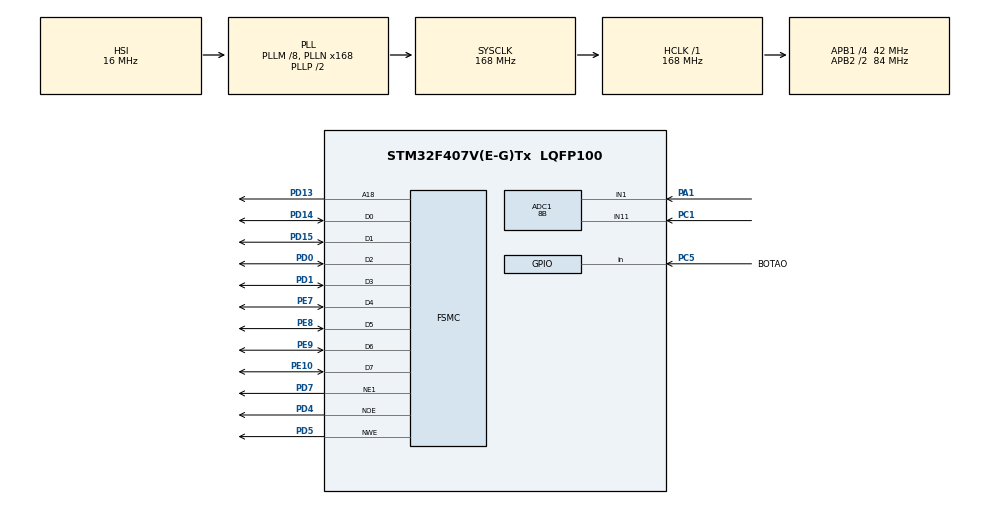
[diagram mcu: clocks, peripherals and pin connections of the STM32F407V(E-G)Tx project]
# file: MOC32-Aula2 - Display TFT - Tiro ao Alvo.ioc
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ADC1.Channel-2\#ChannelRegularConversion=ADC_CHANNEL_1
ADC1.Channel-4\#ChannelRegularConversion=ADC_CHANNEL_11
ADC1.ClockPrescaler=ADC_CLOCK_SYNC_PCLK_DIV4
ADC1.NbrOfConversion=2
ADC1.NbrOfConversionFlag=1
ADC1.Rank-2\#ChannelRegularConversion=1
ADC1.Rank-4\#ChannelRegularConversion=2
ADC1.Resolution=ADC_RESOLUTION_8B
ADC1.SamplingTime-2\#ChannelRegularConversion=ADC_SAMPLETIME_480CYCLES
ADC1.SamplingTime-4\#ChannelRegularConversion=ADC_SAMPLETIME_480CYCLES
ADC1.master=1
FSMC.AddressSetupTime1=6
FSMC.BusTurnAroundDuration1=15
FSMC.DataSetupTime1=6
Mcu.Family=STM32F4
Mcu.Name=STM32F407V(E-G)Tx
Mcu.Package=LQFP100
NVIC.PriorityGroup=NVIC_PRIORITYGROUP_4
PA1.Signal=ADCx_IN1
PC1.Signal=ADCx_IN11
PC5.GPIO_Label=BOTAO
PC5.GPIO_PuPd=GPIO_PULLUP
PC5.Signal=GPIO_Input
PD0.Mode=8b-d1
PD0.Signal=FSMC_D2
PD1.Mode=8b-d1
PD1.Signal=FSMC_D3
PD13.Mode=A18_1
PD13.Signal=FSMC_A18
PD14.Mode=8b-d1
PD14.Signal=FSMC_D0
PD15.Mode=8b-d1
PD15.Signal=FSMC_D1
PD4.Mode=Lcd1
PD4.Signal=FSMC_NOE
PD5.Mode=Lcd1
PD5.Signal=FSMC_NWE
PD7.Mode=NorPsramChipSelect1_1
PD7.Signal=FSMC_NE1
PE10.Mode=8b-d1
PE10.Signal=FSMC_D7
PE7.Mode=8b-d1
PE7.Signal=FSMC_D4
PE8.Mode=8b-d1
PE8.Signal=FSMC_D5
PE9.Mode=8b-d1
PE9.Signal=FSMC_D6
PH0-OSC_IN.Mode=HSE-External-Oscillator
PH0-OSC_IN.Signal=RCC_OSC_IN
PH1-OSC_OUT.Mode=HSE-External-Oscillator
PH1-OSC_OUT.Signal=RCC_OSC_OUT
ProjectManager.HeapSize=0x200
ProjectManager.StackSize=0x400
ProjectManager.TargetToolchain=STM32CubeIDE
RCC.48MHZClocksFreq_Value=84000000
RCC.AHBFreq_Value=168000000
RCC.APB1CLKDivider=RCC_HCLK_DIV4
RCC.APB1Freq_Value=42000000
RCC.APB1TimFreq_Value=84000000
RCC.APB2CLKDivider=RCC_HCLK_DIV2
RCC.APB2Freq_Value=84000000
RCC.APB2TimFreq_Value=168000000
RCC.CortexFreq_Value=168000000
RCC.HCLKFreq_Value=168000000
RCC.HSE_VALUE=8000000
RCC.HSI_VALUE=16000000
RCC.LSE_VALUE=32768
RCC.PLLM=8
RCC.PLLN=168
RCC.SYSCLKFreq_VALUE=168000000
RCC.SYSCLKSource=RCC_SYSCLKSOURCE_PLLCLK
RCC.VCOOutputFreq_Value=336000000
SH.ADCx_IN1.0=ADC1_IN1,IN1
SH.ADCx_IN11.0=ADC1_IN11,IN11
board=custom

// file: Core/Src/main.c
/* USER CODE BEGIN Header */
/**
  ******************************************************************************
  * @file           : main.c
  * @brief          : Main program body
  ******************************************************************************
  * @attention
  *
  * Copyright (c) 2023 STMicroelectronics.
  * All rights reserved.
  *
  * This software is licensed under terms that can be found in the LICENSE file
  * in the root directory of this software component.
  * If no LICENSE file comes with this software, it is provided AS-IS.
  *
  ******************************************************************************
  */
/* USER CODE END Header */
#include "main.h"

/* USER CODE BEGIN Includes */
#include "ili9341.h"
#include "common.h"
#include "fonts.h"
#include "lcd.h"
#include "math.h"
#include <stdbool.h>

/* USER CODE END Includes */

ADC_HandleTypeDef hadc1;

SRAM_HandleTypeDef hsram1;

/* USER CODE BEGIN PV */
extern const unsigned short alvo_resize[76800];
uint16_t adc_valueX=0;
uint16_t adc_valueY=0;
uint16_t score=0;
uint8_t score_text[10];
/* USER CODE END PV */

void SystemClock_Config(void);
static void MX_GPIO_Init(void);
static void MX_ADC1_Init(void);
static void MX_FSMC_Init(void);
/* USER CODE BEGIN PFP */
void init_alvo(uint16_t x,uint16_t y);
uint16_t map(uint16_t x, uint16_t in_min, uint16_t in_max, uint16_t out_min, uint16_t out_max);
uint32_t Read_ADC_Channel(uint32_t channel);
void score_update(void);
void verifica_alvo(uint16_t x,uint16_t y);
/* USER CODE END PFP */

int main(void)
{

  /* MCU Configuration--------------------------------------------------------*/

  /* Reset of all peripherals, Initializes the Flash interface and the Systick. */
  HAL_Init();

  /* Configure the system clock */
  SystemClock_Config();

  /* Initialize all configured peripherals */
  MX_GPIO_Init();
  MX_ADC1_Init();
  MX_FSMC_Init();
  /* USER CODE BEGIN 2 */
  ili9341_Init();
  ili9341_DrawRGBImage(0, 0, 320, 240, alvo_resize);
  init_alvo(160,120);
  /* USER CODE END 2 */

  /* Infinite loop */
  while (1)
  {

    /* USER CODE BEGIN 3 */
	  adc_valueX = (uint16_t)Read_ADC_Channel(ADC_CHANNEL_1);
	  adc_valueY = (uint16_t)Read_ADC_Channel(ADC_CHANNEL_11);
	  adc_valueX=map(adc_valueX,6,255,0,320);
	  adc_valueY=map(adc_valueY,6,255,0,240);
	  ili9341_DrawRGBImage(0, 0, 320, 240, alvo_resize);
	  score_update();
	  init_alvo(adc_valueX, adc_valueY);
	  verifica_alvo(adc_valueX,adc_valueY);
	  HAL_Delay(150);
  }
  /* USER CODE END 3 */
}

void SystemClock_Config(void)
{
  RCC_OscInitTypeDef RCC_OscInitStruct = {0};
  RCC_ClkInitTypeDef RCC_ClkInitStruct = {0};

  /** Configure the main internal regulator output voltage
  */
  __HAL_RCC_PWR_CLK_ENABLE();
  __HAL_PWR_VOLTAGESCALING_CONFIG(PWR_REGULATOR_VOLTAGE_SCALE1);

  /** Initializes the RCC Oscillators according to the specified parameters
  * in the RCC_OscInitTypeDef structure.
  */
  RCC_OscInitStruct.OscillatorType = RCC_OSCILLATORTYPE_HSI;
  RCC_OscInitStruct.HSIState = RCC_HSI_ON;
  RCC_OscInitStruct.HSICalibrationValue = RCC_HSICALIBRATION_DEFAULT;
  RCC_OscInitStruct.PLL.PLLState = RCC_PLL_ON;
  RCC_OscInitStruct.PLL.PLLSource = RCC_PLLSOURCE_HSI;
  RCC_OscInitStruct.PLL.PLLM = 8;
  RCC_OscInitStruct.PLL.PLLN = 168;
  RCC_OscInitStruct.PLL.PLLP = RCC_PLLP_DIV2;
  RCC_OscInitStruct.PLL.PLLQ = 4;
  if (HAL_RCC_OscConfig(&RCC_OscInitStruct) != HAL_OK)
  {
    Error_Handler();
  }

  /** Initializes the CPU, AHB and APB buses clocks
  */
  RCC_ClkInitStruct.ClockType = RCC_CLOCKTYPE_HCLK|RCC_CLOCKTYPE_SYSCLK
                              |RCC_CLOCKTYPE_PCLK1|RCC_CLOCKTYPE_PCLK2;
  RCC_ClkInitStruct.SYSCLKSource = RCC_SYSCLKSOURCE_PLLCLK;
  RCC_ClkInitStruct.AHBCLKDivider = RCC_SYSCLK_DIV1;
  RCC_ClkInitStruct.APB1CLKDivider = RCC_HCLK_DIV4;
  RCC_ClkInitStruct.APB2CLKDivider = RCC_HCLK_DIV2;

  if (HAL_RCC_ClockConfig(&RCC_ClkInitStruct, FLASH_LATENCY_5) != HAL_OK)
  {
    Error_Handler();
  }
}

static void MX_ADC1_Init(void)
{

  ADC_ChannelConfTypeDef sConfig = {0};

  /** Configure the global features of the ADC (Clock, Resolution, Data Alignment and number of conversion)
  */
  hadc1.Instance = ADC1;
  hadc1.Init.ClockPrescaler = ADC_CLOCK_SYNC_PCLK_DIV4;
  hadc1.Init.Resolution = ADC_RESOLUTION_8B;
  hadc1.Init.ScanConvMode = ENABLE;
  hadc1.Init.ContinuousConvMode = DISABLE;
  hadc1.Init.DiscontinuousConvMode = DISABLE;
  hadc1.Init.ExternalTrigConvEdge = ADC_EXTERNALTRIGCONVEDGE_NONE;
  hadc1.Init.ExternalTrigConv = ADC_SOFTWARE_START;
  hadc1.Init.DataAlign = ADC_DATAALIGN_RIGHT;
  hadc1.Init.NbrOfConversion = 2;
  hadc1.Init.DMAContinuousRequests = DISABLE;
  hadc1.Init.EOCSelection = ADC_EOC_SINGLE_CONV;
  if (HAL_ADC_Init(&hadc1) != HAL_OK)
  {
    Error_Handler();
  }

  /** Configure for the selected ADC regular channel its corresponding rank in the sequencer and its sample time.
  */
  sConfig.Channel = ADC_CHANNEL_1;
  sConfig.Rank = 1;
  sConfig.SamplingTime = ADC_SAMPLETIME_480CYCLES;
  if (HAL_ADC_ConfigChannel(&hadc1, &sConfig) != HAL_OK)
  {
    Error_Handler();
  }

  /** Configure for the selected ADC regular channel its corresponding rank in the sequencer and its sample time.
  */
  sConfig.Channel = ADC_CHANNEL_11;
  sConfig.Rank = 2;
  if (HAL_ADC_ConfigChannel(&hadc1, &sConfig) != HAL_OK)
  {
    Error_Handler();
  }

}

static void MX_GPIO_Init(void)
{
  GPIO_InitTypeDef GPIO_InitStruct = {0};

  /* GPIO Ports Clock Enable */
  __HAL_RCC_GPIOH_CLK_ENABLE();
  __HAL_RCC_GPIOC_CLK_ENABLE();
  __HAL_RCC_GPIOA_CLK_ENABLE();
  __HAL_RCC_GPIOE_CLK_ENABLE();
  __HAL_RCC_GPIOD_CLK_ENABLE();

  /*Configure GPIO pin : BOTAO_Pin */
  GPIO_InitStruct.Pin = BOTAO_Pin;
  GPIO_InitStruct.Mode = GPIO_MODE_INPUT;
  GPIO_InitStruct.Pull = GPIO_PULLUP;
  HAL_GPIO_Init(BOTAO_GPIO_Port, &GPIO_InitStruct);

}

/* FSMC initialization function */
static void MX_FSMC_Init(void)
{

  FSMC_NORSRAM_TimingTypeDef Timing = {0};

  /** Perform the SRAM1 memory initialization sequence
  */
  hsram1.Instance = FSMC_NORSRAM_DEVICE;
  hsram1.Extended = FSMC_NORSRAM_EXTENDED_DEVICE;
  /* hsram1.Init */
  hsram1.Init.NSBank = FSMC_NORSRAM_BANK1;
  hsram1.Init.DataAddressMux = FSMC_DATA_ADDRESS_MUX_DISABLE;
  hsram1.Init.MemoryType = FSMC_MEMORY_TYPE_SRAM;
  hsram1.Init.MemoryDataWidth = FSMC_NORSRAM_MEM_BUS_WIDTH_8;
  hsram1.Init.BurstAccessMode = FSMC_BURST_ACCESS_MODE_DISABLE;
  hsram1.Init.WaitSignalPolarity = FSMC_WAIT_SIGNAL_POLARITY_LOW;
  hsram1.Init.WrapMode = FSMC_WRAP_MODE_DISABLE;
  hsram1.Init.WaitSignalActive = FSMC_WAIT_TIMING_BEFORE_WS;
  hsram1.Init.WriteOperation = FSMC_WRITE_OPERATION_ENABLE;
  hsram1.Init.WaitSignal = FSMC_WAIT_SIGNAL_DISABLE;
  hsram1.Init.ExtendedMode = FSMC_EXTENDED_MODE_DISABLE;
  hsram1.Init.AsynchronousWait = FSMC_ASYNCHRONOUS_WAIT_DISABLE;
  hsram1.Init.WriteBurst = FSMC_WRITE_BURST_DISABLE;
  hsram1.Init.PageSize = FSMC_PAGE_SIZE_NONE;
  /* Timing */
  Timing.AddressSetupTime = 6;
  Timing.AddressHoldTime = 15;
  Timing.DataSetupTime = 6;
  Timing.BusTurnAroundDuration = 15;
  Timing.CLKDivision = 16;
  Timing.DataLatency = 17;
  Timing.AccessMode = FSMC_ACCESS_MODE_A;
  /* ExtTiming */

  if (HAL_SRAM_Init(&hsram1, &Timing, NULL) != HAL_OK)
  {
    Error_Handler( );
  }

}

/* USER CODE BEGIN 4 */
void init_alvo(uint16_t x,uint16_t y)
{

	ili9341_FillCircle(x, y, 5, COLOR_BLACK);
	ili9341_DrawVLine(COLOR_BLACK, x-1, y-20, 40);
	ili9341_DrawVLine(COLOR_BLACK, x, y-20, 40);
	ili9341_DrawVLine(COLOR_BLACK, x+1, y-20, 40);
	ili9341_DrawHLine(COLOR_BLACK, x-20, y-1, 40);
	ili9341_DrawHLine(COLOR_BLACK, x-20, y, 40);
	ili9341_DrawHLine(COLOR_BLACK, x-20, y+1, 40);
}

uint16_t map(uint16_t x, uint16_t in_min, uint16_t in_max, uint16_t out_min, uint16_t out_max)
{
  return (x - in_min) * (out_max - out_min) / (in_max - in_min) + out_min;
}

uint32_t Read_ADC_Channel(uint32_t channel)
{
  ADC_ChannelConfTypeDef sConfig;

  sConfig.Channel = channel;
  sConfig.Rank = 1;
  sConfig.SamplingTime = ADC_SAMPLETIME_480CYCLES;
  sConfig.Offset = 0;
  HAL_ADC_ConfigChannel(&hadc1, &sConfig);

  HAL_ADC_Start(&hadc1);
  HAL_ADC_PollForConversion(&hadc1, 50);
  uint32_t adc_value = HAL_ADC_GetValue(&hadc1);
  HAL_ADC_Stop(&hadc1);

  return adc_value;
}

void score_update(void)
{
	sprintf(score_text, "SCORE:%d", score);
	tftWriteText(140, 15, COLOR_BLACK, &mono12x7bold, 1, score_text);
}

bool point_in_circle(int x, int y, int center_x, int center_y, int radius)
{
  return pow(x - center_x, 2) + pow(y - center_y, 2) <= pow(radius, 2);
}

void verifica_alvo(uint16_t x,uint16_t y)
{
	if(point_in_circle(x, y, 51, 167, 15)||point_in_circle(x, y, 157, 167, 15)||point_in_circle(x, y, 263, 167, 15))
	{
		tftWriteText(10, 15, COLOR_BLACK, &mono12x7bold, 1, (uint8_t *)"ALVO");
		if(!HAL_GPIO_ReadPin(BOTAO_GPIO_Port, BOTAO_Pin))
		{
			score=score+10;
			HAL_Delay(10);
		}
	}
	else
	{
		tftWriteText(10, 15, COLOR_BLACK, &mono12x7bold, 1, (uint8_t *)"NAO ALVO");
	}
}
/* USER CODE END 4 */

void Error_Handler(void)
{
  __disable_irq();
  while (1)
  {
  }
}
